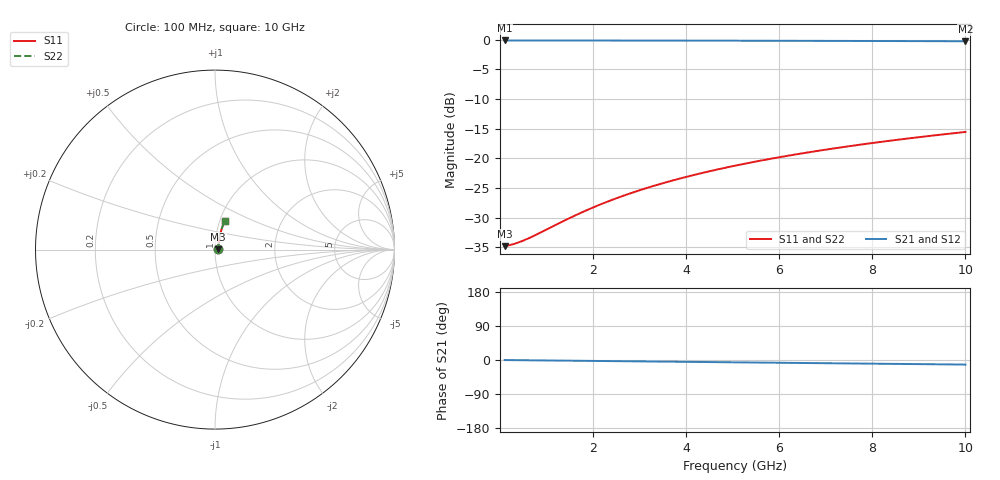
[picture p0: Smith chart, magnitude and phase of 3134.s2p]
# Hz S RI R 50.00
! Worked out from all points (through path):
!   100 points, 100 MHz to 10 GHz, reference 50 ohm
!   highest |S21| = -0.16 dB at 100 MHz (marker M1); lowest = -0.3 dB at 10 GHz (marker M2)
!   group delay of S21, straight-line fit = 3.35 ps
!   lowest |S11| = -34.8 dB at 100 MHz (marker M3), VSWR 1.04, Z = 51.8 + j0.17 ohm
!   |S11| at or under -10 dB: start of sweep to end of sweep
!   |S22| runs from -34.8 to -15.6 dB; largest |S21 - S12| = 0
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1e8  0.0181 0.00164  0.9819 -0.00208  0.9819 -0.00208  0.0181 0.00164
2e8  0.0182 0.00328  0.9818 -0.00417  0.9818 -0.00417  0.0182 0.00328
3e8  0.0183 0.00492  0.9816 -0.00625  0.9816 -0.00625  0.0183 0.00492
4e8  0.0184 0.00656  0.9816 -0.00833  0.9816 -0.00833  0.0184 0.00656
6e8  0.0186 0.00983  0.9814 -0.0125  0.9814 -0.0125  0.0186 0.00983
8e8  0.0188 0.0131  0.9812 -0.0166  0.9812 -0.0166  0.0188 0.0131
1.4e9  0.0195 0.0229  0.9805 -0.0291  0.9805 -0.0291  0.0195 0.0229
1.8e9  0.02 0.0294  0.98 -0.0374  0.98 -0.0374  0.02 0.0294
2.2e9  0.0206 0.036  0.9793 -0.0457  0.9793 -0.0457  0.0206 0.036
2.6e9  0.0214 0.0425  0.9785 -0.054  0.9785 -0.054  0.0214 0.0425
3e9  0.0222 0.049  0.9777 -0.0622  0.9777 -0.0622  0.0222 0.049
3.4e9  0.0232 0.0554  0.9767 -0.0705  0.9767 -0.0705  0.0232 0.0554
3.8e9  0.0242 0.0619  0.9756 -0.0787  0.9756 -0.0787  0.0242 0.0619
4.2e9  0.0254 0.0683  0.9744 -0.0869  0.9744 -0.0869  0.0254 0.0683
4.6e9  0.0266 0.0747  0.9731 -0.0951  0.9731 -0.0951  0.0266 0.0747
5.1e9  0.0284 0.0827  0.9714 -0.1053  0.9714 -0.1053  0.0284 0.0827
5.9e9  0.0315 0.0953  0.9682 -0.1214  0.9682 -0.1214  0.0315 0.0953
6.7e9  0.035 0.1078  0.9646 -0.1375  0.9646 -0.1375  0.035 0.1078
7.5e9  0.0389 0.1202  0.9605 -0.1534  0.9605 -0.1534  0.0389 0.1202
8.4e9  0.0438 0.1339  0.9555 -0.1711  0.9555 -0.1711  0.0438 0.1339
9.2e9  0.0485 0.1458  0.9506 -0.1867  0.9506 -0.1867  0.0485 0.1458
1e10  0.0537 0.1576  0.9453 -0.2021  0.9453 -0.2021  0.0537 0.1576
